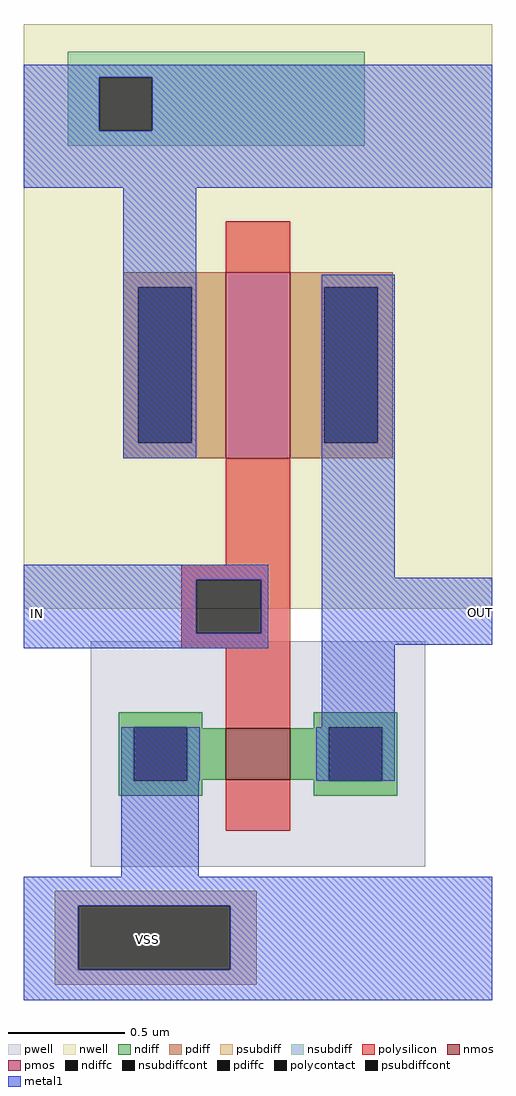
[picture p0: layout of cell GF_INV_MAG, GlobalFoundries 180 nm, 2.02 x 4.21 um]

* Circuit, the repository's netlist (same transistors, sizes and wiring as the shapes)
* NGSPICE file created from GF_INV_MAG.ext - technology: gf180mcuC

.subckt pmos_3p3_MQGBLR a_n28_n124# a_n116_n80# a_28_n80# w_n202_n210#
X0 a_28_n80# a_n28_n124# a_n116_n80# w_n202_n210# pfet_03v3 ad=0.352p pd=2.48u as=0.352p ps=2.48u w=0.8u l=0.28u
.ends

.subckt nmos_3p3_DDNVWA a_n120_n36# a_28_n22# a_n28_n66# VSUBS
X0 a_28_n22# a_n28_n66# a_n120_n36# VSUBS nfet_03v3 ad=0.152p pd=1.64u as=0.152p ps=1.64u w=0.22u l=0.28u
.ends

.subckt GF_INV_MAG VDD VSS IN OUT
Xpmos_3p3_MQGBLR_0 IN VDD OUT VDD pmos_3p3_MQGBLR
Xnmos_3p3_DDNVWA_0 VSS OUT IN VSS nmos_3p3_DDNVWA
.ends

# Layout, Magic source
magic
tech gf180mcuC
magscale 1 10
<< nwell >>
rect -118 526 286 666
rect -84 525 271 526
rect -32 292 31 525
<< psubdiff >>
rect -91 -94 83 -81
rect -91 -149 -71 -94
rect 60 -149 83 -94
rect -91 -162 83 -149
<< nsubdiff >>
rect -80 620 176 642
rect -80 574 -53 620
rect -7 574 176 620
rect -80 561 176 574
<< psubdiffcont >>
rect -71 -149 60 -94
<< nsubdiffcont >>
rect -53 574 -7 620
<< polysilicon >>
rect 56 200 112 248
rect 18 187 112 200
rect 18 141 31 187
rect 87 141 112 187
rect 18 128 112 141
rect 56 103 112 128
<< polycontact >>
rect 31 141 87 187
<< metal1 >>
rect -118 620 286 631
rect -118 574 -53 620
rect -7 574 286 620
rect -118 525 286 574
rect -32 292 31 525
rect -118 187 93 200
rect -118 141 31 187
rect 87 141 93 187
rect -118 128 93 141
rect 139 189 202 450
rect 139 131 286 189
rect -34 -69 33 60
rect 139 14 202 131
rect -118 -94 286 -69
rect -118 -149 -71 -94
rect 60 -149 286 -94
rect -118 -175 286 -149
use nmos_3p3_DDNVWA  nmos_3p3_DDNVWA_0
transform 1 0 84 0 1 37
box -144 -97 144 97
use pmos_3p3_MQGBLR  pmos_3p3_MQGBLR_0
transform 1 0 84 0 1 372
box -202 -210 202 210
<< labels >>
flabel metal1 -106 158 -106 158 0 FreeSans 640 0 0 0 IN
port 2 nsew
flabel metal1 276 159 276 159 0 FreeSans 640 0 0 0 OUT
port 3 nsew
flabel psubdiffcont -11 -123 -11 -123 0 FreeSans 640 0 0 0 VSS
port 4 nsew
<< end >>

# cell nmos_3p3_DDNVWA: kit device nmos_3p3, w 0.220 l 0.280 m 1 nf 1 diffcov 100 polycov 100 guard 0 glc 0 grc 0 gtc 0 gbc 0 tbcov 100 rlcov 100 topc 0 botc 0 poverlap 0 doverlap 1 lmin 0.28 wmin 0.22 full_metal 0 compatible {nmos_3p3 nmos_6p0 nmos_6p0_nat}

# cell pmos_3p3_MQGBLR: kit device pmos_3p3, w 0.8 l 0.280 m 1 nf 1 diffcov 100 polycov 100 guard 0 glc 0 grc 0 gtc 0 gbc 0 tbcov 100 rlcov 100 topc 0 botc 0 poverlap 0 doverlap 1 lmin 0.28 wmin 0.22 full_metal 0 compatible {pmos_3p3 pmos_6p0}
